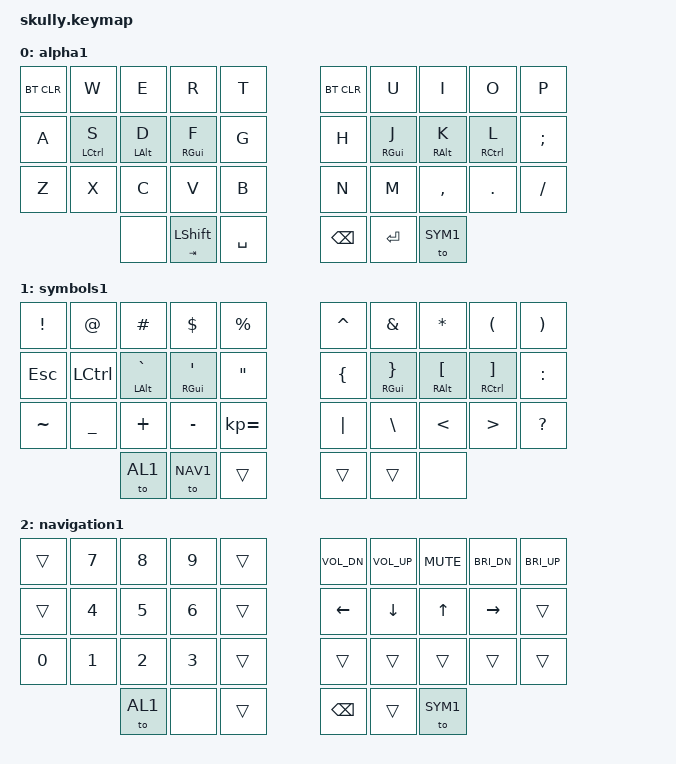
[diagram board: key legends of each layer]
/*
 * Copyright (c) 2020 The ZMK Contributors
 *
 * SPDX-License-Identifier: MIT
 */

#include <behaviors.dtsi>
#include <dt-bindings/zmk/keys.h>
#include <dt-bindings/zmk/bt.h>

/* Layers */
#define AL1 0
#define SYM1 1
#define NAV1 2
/ { 
    behaviors {
        hm: homerow_mods {
            compatible = "zmk,behavior-hold-tap";
            label = "HOMEROW_MODS";
            #binding-cells = <2>;
            tapping-term-ms = <300>;
            quick_tap_ms = <0>;
            flavor = "tap-preferred";
            bindings = <&kp>, <&kp>;
        };
    };
       keymap {
              compatible = "zmk,keymap";

              alpha1 {
              bindings = <
              &bt BT_CLR    &kp W       &kp E       &kp R           &kp T           &bt BT_CLR     &kp U       &kp I       &kp O       &kp P
              &kp A         &hm LCTL S  &hm LALT D  &hm RGUI F      &kp G           &kp H     &hm RGUI J  &hm RALT K  &hm RCTL L  &kp SEMI
              &kp Z         &kp X       &kp C       &kp V           &kp B           &kp N     &kp M       &kp COMMA   &kp DOT     &kp SLASH
                                        &none       &hm TAB LSHIFT  &kp SPC         &kp BKSP  &kp RET     &to SYM1
              >;
              };
              symbols1 {
              bindings = <
              &kp EXCL    &kp AT      &kp POUND       &kp DLLR          &kp PRCNT       &kp CARET   &kp AMPS        &kp ASTRK       &kp LPAR        &kp RPAR
              &kp ESC     &kp LCTL    &hm LALT GRAVE  &hm RGUI APOS     &kp DQT         &kp LBRC    &hm RGUI RBRC   &hm RALT LBKT   &hm RCTL RBKT   &kp COLON
              &kp TILDE   &kp UNDER   &kp PLUS        &kp MINUS         &kp KP_EQUAL    &kp PIPE    &kp BSLH        &kp LT          &kp GT          &kp QMARK
                                      &to AL1         &to NAV1          &trans          &trans      &trans          &none
              >;
              };
              navigation1 {
              bindings = <
              &trans    &kp N7  &kp N8      &kp N9  &trans        &kp C_VOL_DN   &kp C_VOL_UP  &kp C_MUTE  &kp C_BRI_DN  &kp C_BRI_UP
              &trans    &kp N4  &kp N5      &kp N6  &trans        &kp LEFT       &kp DOWN      &kp UP      &kp RIGHT     &trans
              &kp N0    &kp N1  &kp N2      &kp N3  &trans        &trans         &trans        &trans      &trans        &trans
                                &to AL1     &none   &trans        &kp BKSP       &trans        &to SYM1
              >;
              };

        };
};
